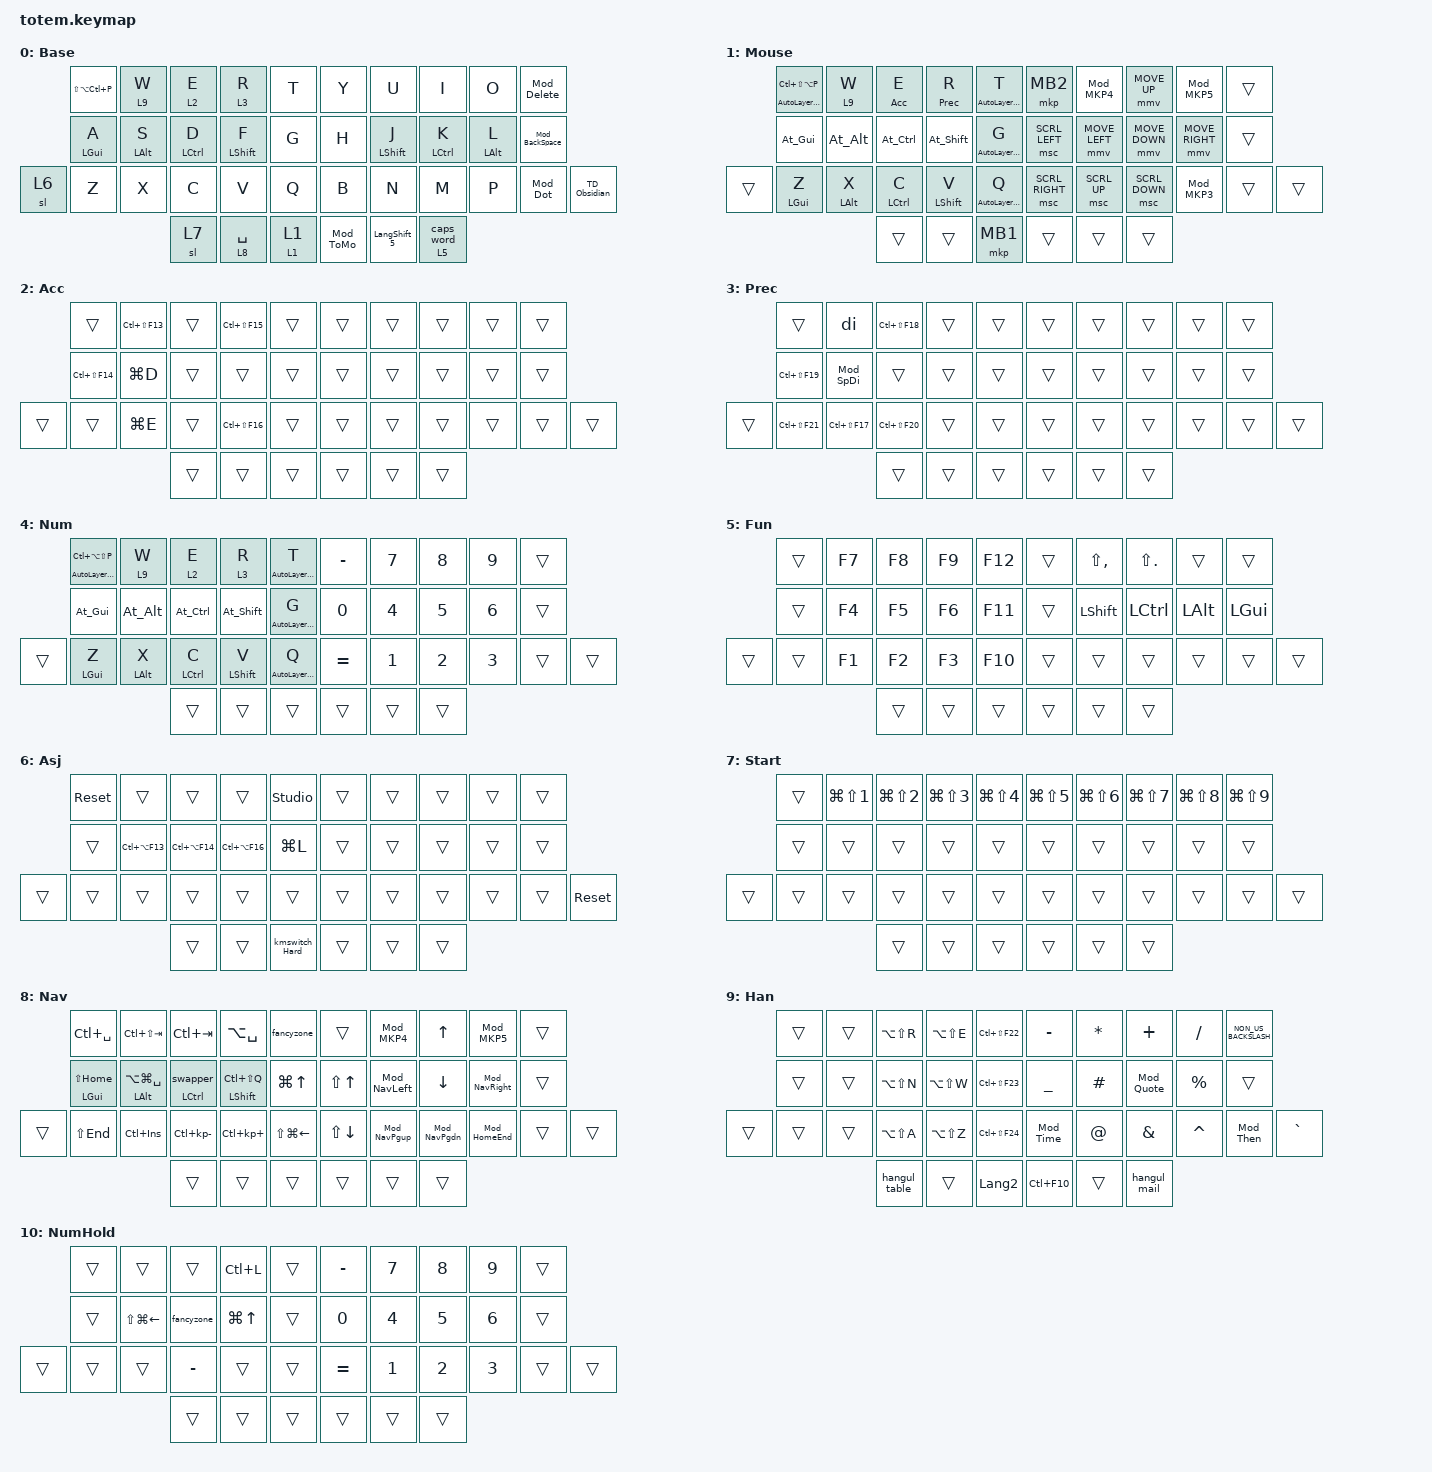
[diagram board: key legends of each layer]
//
//                                                        ▀▀▀▀▀     ▀▀▀▀▀          ▀▀█▀▀
//                                                        ▄▀▀▀▄  ▄  ▄▀▀▀▄  ▄  ▄▀▀▀▄  █  ▄▀▀▀▄
//                                                        █   █  █  █   █  █  █   █  █  █   █
//                                                         ▀▀▀   █   ▀▀▀   █   ▀▀▀   ▀   ▀▀▀
//                                                               █      ▄▄▄█▄▄▄    █   █  
//                                                               ▀      █  █  █     █▄█
//                                                             ▀▀▀▀▀    █  █  █      ▀
//                                                                      ▀  ▀  ▀
//
// ▄▄▄▄▄▄▄▄▄▄▄▄▄▄▄▄▄▄▄▄▄▄▄▄▄▄▄▄▄▄▄▄▄▄▄▄▄▄▄▄▄▄▄▄▄▄▄▄▄▄▄▄▄▄▄▄▄▄▄▄▄▄▄▄▄▄▄▄▄▄▄▄▄▄▄▄▄▄▄▄▄▄▄▄▄▄▄▄▄▄▄▄▄▄▄▄▄▄▄▄▄▄▄▄▄▄▄▄▄▄▄▄▄▄▄▄▄▄▄▄▄▄▄▄▄▄▄▄▄▄▄▄▄▄▄▄▄▄▄▄▄▄▄▄▄▄▄▄▄

#include "mouse-tuning.h"
#include <input/processors.dtsi>
#include <behaviors.dtsi>
#include <dt-bindings/zmk/keys.h>
#include <dt-bindings/zmk/pointing.h>

#define Base        0
#define Mouse       1
#define Acc         2
#define Prec        3
#define Num         4
#define Fun         5
#define Asj         6
#define Start       7
#define Nav         8
#define Han         9

&mt {
    quick-tap-ms = <100>;
    global-quick-tap;
    flavor = "tap-preferred";
    tapping-term-ms = <170>;
};

&lt {
    tapping-term-ms = <240>;
    flavor = "balanced";
    quick-tap-ms = <150>;
};

#include "mouse-tuning.dtsi"

/ {
    behaviors {
        hm: homerow_mods {
            compatible = "zmk,behavior-hold-tap";
            label = "HOMEROW_MODS";
            #binding-cells = <2>;
            flavor = "tap-preferred";
            tapping-term-ms = <200>;
            quick-tap-ms = <125>;
            global-quick-tap;
            bindings = <&sk>, <&kp>;
        };

        swapper: swapper {
            compatible = "totem,behavior-owned-swapper";
            label = "SWAPPER";
            #binding-cells = <0>;

            ignored-key-positions = <2 3 7 16 17 18>;  // 키 위치를 숫자로 변환 필요
        };

        LangShift_1: LangShift_1 {
            compatible = "zmk,behavior-sticky-key";
            label = "LANGSHIFT_1";
            bindings = <&sk>;
            #binding-cells = <1>;
            release-after-ms = <1000>;
            quick-release;
            ignore-modifiers;
        };

        LangShift_2: LangShift_2 {
            compatible = "zmk,behavior-hold-tap";
            label = "LANGSHIFT_2";
            bindings = <&lang_temp>, <&LangShift_1>;

            #binding-cells = <2>;
            tapping-term-ms = <180>;
            flavor = "tap-preferred";
        };

        LangShift_3: LangShift_3 {
            compatible = "zmk,behavior-hold-tap";
            label = "LANGSHIFT_3";
            bindings = <&kp>, <&lang>;

            #binding-cells = <2>;
            tapping-term-ms = <180>;
            flavor = "tap-preferred";
        };

        LangShift_4: LangShift_4 {
            compatible = "zmk,behavior-mod-morph";
            label = "LANGSHIFT_4";
            bindings =
                <&LangShift_2 RIGHT_SHIFT RIGHT_SHIFT>,
                <&LangShift_3 RIGHT_SHIFT 0>;

            #binding-cells = <0>;
            mods = <(MOD_RSFT)>;
        };

        Layter_ToMo: Layter_ToMo {
            compatible = "zmk,behavior-hold-tap";
            label = "LAYTER_TOMO";
            bindings = <&mo>, <&to>;

            #binding-cells = <2>;
            tapping-term-ms = <180>;
            flavor = "tap-preferred";
        };

        AutoLayer_3: AutoLayer_3 {
            compatible = "zmk,behavior-hold-tap";
            label = "AUTOLAYER_3";
            bindings = <&kp>, <&AutoLayer_1>;

            #binding-cells = <2>;
            flavor = "tap-preferred";
            tapping-term-ms = <180>;
        };

        AutoLayer_4: AutoLayer_4 {
            compatible = "zmk,behavior-hold-tap";
            label = "AUTOLAYER_4";
            bindings = <&mo>, <&AutoLayer_1>;

            #binding-cells = <2>;
            tapping-term-ms = <180>;
            flavor = "tap-preferred";
        };

        HT_MoCaps: HT_MoCaps {
            compatible = "zmk,behavior-hold-tap";
            label = "HT_MOCAPS";
            bindings = <&mo>, <&caps_word>;

            #binding-cells = <2>;
            tapping-term-ms = <180>;
            flavor = "balanced";
        };

        TD_Obsidian: TD_Obsidian {
            compatible = "zmk,behavior-tap-dance";
            label = "TD_OBSIDIAN";
            #binding-cells = <0>;
            bindings = <&kp LC(LS(LA(LG(M))))>, <&kp LS(LA(LC(LG(H))))>;
        };

        Sign_layer: Sign_layer {
            compatible = "zmk,behavior-hold-tap";
            label = "SIGN_LAYER";
            bindings = <&mo>, <&kp>;

            #binding-cells = <2>;
            tapping-term-ms = <200>;
            flavor = "tap-preferred";
        };

        Mod_Bracket: Mod_Bracket {
            compatible = "zmk,behavior-mod-morph";
            label = "MOD_BRACKET";
            bindings = <&bracket>, <&bracket2>;

            #binding-cells = <0>;
            mods = <(MOD_RSFT)>;
        };

        Mod_Colon: Mod_Colon {
            compatible = "zmk,behavior-mod-morph";
            label = "MOD_COLON";
            bindings = <&kp COLON>, <&kp SEMI>;

            #binding-cells = <0>;
            mods = <(MOD_RSFT|MOD_LSFT)>;
        };

        Mod_BackSpace: Mod_BackSpace {
            compatible = "zmk,behavior-mod-morph";
            label = "MOD_BACKSPACE";
            bindings = <&kp BACKSPACE>, <&kp BACKSPACE>;

            #binding-cells = <0>;
            mods = <(MOD_RSFT)>;
        };

        Mod_Delete: Mod_Delete {
            compatible = "zmk,behavior-mod-morph";
            label = "MOD_DELETE";
            bindings = <&kp DELETE>, <&kp DELETE>;

            #binding-cells = <0>;
            mods = <(MOD_RSFT)>;
        };

        Mod_Dot: Mod_Dot {
            compatible = "zmk,behavior-mod-morph";
            label = "MOD_DOT";
            bindings = <&kp PERIOD>, <&kp EXCLAMATION>;

            #binding-cells = <0>;
            mods = <(MOD_RSFT|MOD_LSFT)>;
        };

        Mod_Comma: Mod_Comma {
            compatible = "zmk,behavior-mod-morph";
            label = "MOD_COMMA";
            bindings = <&kp COMMA>, <&kp QUESTION>;

            #binding-cells = <0>;
            mods = <(MOD_RSFT|MOD_LSFT)>;
        };

        Mod_HomeEnd: Mod_HomeEnd {
            compatible = "zmk,behavior-mod-morph";
            label = "MOD_HOMEEND";
            bindings = <&kp LC(HOME)>, <&kp LC(END)>;

            #binding-cells = <0>;
            mods = <(MOD_RSFT|MOD_LSFT)>;
        };

        Mod_Arrow: Mod_Arrow {
            compatible = "zmk,behavior-mod-morph";
            label = "MOD_ARROW";
            bindings = <&Arrow_Right>, <&Arrow_Left>;

            #binding-cells = <0>;
            mods = <(MOD_RSFT|MOD_LSFT)>;
        };

        Mod_MKP3: Mod_MKP3 {
            compatible = "zmk,behavior-mod-morph";
            label = "MOD_MKP3";
            bindings = <&mkp MB3>, <&mkp MB2>;

            #binding-cells = <0>;
            mods = <(MOD_RSFT)>;
        };

        Mod_MKP4: Mod_MKP4 {
            compatible = "zmk,behavior-mod-morph";
            label = "MOD_MKP4";
            bindings = <&mkp MB4>, <&kp LA(UP_ARROW)>;

            #binding-cells = <0>;
            mods = <(MOD_RSFT)>;
        };

        Mod_MKP5: Mod_MKP5 {
            compatible = "zmk,behavior-mod-morph";
            label = "MOD_MKP5";
            bindings = <&mkp MB5>, <&kp LA(LC(LG(LS(F))))>;

            #binding-cells = <0>;
            mods = <(MOD_RSFT)>;
        };

        Mod_NavLeft: Mod_NavLeft {
            compatible = "zmk,behavior-mod-morph";
            label = "MOD_NAVLEFT";
            bindings = <&kp LEFT>, <&kp HOME>;

            #binding-cells = <0>;
            mods = <(MOD_RSFT)>;
        };

        Mod_NavRight: Mod_NavRight {
            compatible = "zmk,behavior-mod-morph";
            label = "MOD_NAVRIGHT";
            bindings = <&kp RIGHT>, <&kp END>;

            #binding-cells = <0>;
            mods = <(MOD_RSFT)>;
        };

        Mod_NavPgup: Mod_NavPgup {
            compatible = "zmk,behavior-mod-morph";
            label = "MOD_NAVPGUP";
            bindings = <&kp PG_UP>, <&kp LC(HOME)>;

            #binding-cells = <0>;
            mods = <(MOD_RSFT)>;
        };

        Mod_NavPgdn: Mod_NavPgdn {
            compatible = "zmk,behavior-mod-morph";
            label = "MOD_NAVPGDN";
            bindings = <&kp PG_DN>, <&kp LC(END)>;

            #binding-cells = <0>;
            mods = <(MOD_RSFT)>;
        };

        Mod_SpDi: Mod_SpDi {
            compatible = "zmk,behavior-mod-morph";
            label = "MOD_SPDI";
            bindings = <&ps>, <&di>;

            #binding-cells = <0>;
            mods = <(MOD_RSFT)>;
        };

        Mod_tide: Mod_tide {
            compatible = "zmk,behavior-mod-morph";
            label = "MOD_TIDE";
            bindings = <&kp MINUS>, <&kp TILDE>;

            #binding-cells = <0>;
            mods = <(MOD_RSFT|MOD_LSFT)>;
        };

        Mod_PrintScreen: Mod_PrintScreen {
            compatible = "zmk,behavior-mod-morph";
            label = "MOD_PRINTSCREEN";
            bindings = <&kp PRINTSCREEN>, <&kp LC(LS(LG(T)))>;

            #binding-cells = <0>;
            mods = <(MOD_RSFT)>;
        };

        Mod_Time: Mod_Time {
            compatible = "zmk,behavior-mod-morph";
            label = "MOD_TIME";
            bindings = <&kp TILDE>, <&kp COLON>;

            #binding-cells = <0>;
            mods = <(MOD_RSFT|MOD_LSFT)>;
        };

        AutoLayer_6: AutoLayer_6 {
            compatible = "zmk,behavior-hold-tap";
            label = "AUTOLAYER_6";
            bindings = <&AutoLayer_5>, <&AutoLayer_1>;

            #binding-cells = <2>;
            flavor = "tap-preferred";
            tapping-term-ms = <180>;
        };

        At_Shift: At_Shift {
            compatible = "zmk,behavior-mod-morph";
            label = "AT_SHIFT";
            bindings = <&AutoLayer_6 LEFT_SHIFT F>, <&AutoLayer_3 LEFT_SHIFT F>;

            #binding-cells = <0>;
            mods = <(MOD_RSFT|MOD_LSFT|MOD_LCTL|MOD_LALT|MOD_LGUI)>;
            keep-mods = <(MOD_LCTL|MOD_LSFT|MOD_LALT|MOD_LGUI)>;
        };

        At_Ctrl: At_Ctrl {
            compatible = "zmk,behavior-mod-morph";
            label = "AT_CTRL";
            bindings = <&AutoLayer_6 LCTRL D>, <&AutoLayer_3 LCTRL D>;

            #binding-cells = <0>;
            mods = <(MOD_RSFT|MOD_LSFT|MOD_LCTL|MOD_LALT|MOD_LGUI)>;
            keep-mods = <(MOD_LCTL|MOD_LSFT|MOD_LALT|MOD_LGUI)>;
        };

        At_Alt: At_Alt {
            compatible = "zmk,behavior-mod-morph";
            label = "AT_ALT";
            bindings = <&AutoLayer_6 LEFT_ALT S>, <&AutoLayer_3 LEFT_ALT S>;

            #binding-cells = <0>;
            mods = <(MOD_RSFT|MOD_LSFT|MOD_LCTL|MOD_LALT|MOD_LGUI)>;
            keep-mods = <(MOD_LCTL|MOD_LSFT|MOD_LALT|MOD_LGUI)>;
        };

        At_Gui: At_Gui {
            compatible = "zmk,behavior-mod-morph";
            label = "AT_GUI";
            bindings = <&AutoLayer_6 LEFT_GUI A>, <&AutoLayer_3 LEFT_GUI A>;

            #binding-cells = <0>;
            mods = <(MOD_RSFT|MOD_LSFT|MOD_LCTL|MOD_LALT|MOD_LGUI)>;
            keep-mods = <(MOD_LCTL|MOD_LSFT|MOD_LALT|MOD_LGUI)>;
        };

        LangShift_5: LangShift_5 {
            compatible = "zmk,behavior-mod-morph";
            label = "LANGSHIFT_5";
            bindings = <&LangShift_4>, <&kp ENTER>;

            #binding-cells = <0>;
            mods = <(MOD_LCTL|MOD_LSFT|MOD_LGUI|MOD_LALT)>;
            keep-mods = <(MOD_LCTL|MOD_LSFT|MOD_LALT|MOD_LGUI)>;
        };

        Mod_ToMo: Mod_ToMo {
            compatible = "zmk,behavior-mod-morph";
            label = "MOD_TOMO";
            bindings = <&Layter_ToMo 10 4>, <&kp TAB>;

            #binding-cells = <0>;
            mods = <(MOD_LCTL|MOD_LSFT|MOD_LALT|MOD_LGUI)>;
            keep-mods = <(MOD_LCTL|MOD_LSFT|MOD_LALT|MOD_LGUI)>;
        };

        hm_swapper: hm_swapper {
            compatible = "zmk,behavior-hold-tap";
            label = "HM_SWAPPER";
            #binding-cells = <2>;
            flavor = "tap-preferred";
            tapping-term-ms = <200>;
            quick-tap-ms = <125>;
            global-quick-tap;
            bindings = <&kp>, <&swapper>;
        };

        Mod_Kmswitch: Mod_Kmswitch {
            compatible = "zmk,behavior-mod-morph";
            label = "MOD_KMSWITCH";
            bindings = <&kmswitch_Hard>, <&kp F24>;

            #binding-cells = <0>;
            mods = <(MOD_RSFT)>;
        };

        AutoLayer_Fast: AutoLayer_Fast {
            compatible = "zmk,behavior-hold-tap";
            label = "AUTOLAYER_FAST";
            bindings = <&mo>, <&AutoLayer_1>;

            #binding-cells = <2>;
            tapping-term-ms = <TOTEM_MOUSE_TAPPING_TERM_MS>;
            flavor = "tap-preferred";
            hold-while-undecided;
        };

        AutoLayer_Slow: AutoLayer_Slow {
            compatible = "zmk,behavior-hold-tap";
            label = "AUTOLAYER_SLOW";
            bindings = <&mo>, <&AutoLayer_1>;

            #binding-cells = <2>;
            tapping-term-ms = <TOTEM_MOUSE_TAPPING_TERM_MS>;
            flavor = "tap-preferred";
            hold-while-undecided;
        };

        Nav_Ctrl: Nav_Ctrl {
            compatible = "zmk,behavior-hold-tap";
            label = "NAV_CTRL";
            bindings = <&kp>, <&swapper>;

            #binding-cells = <2>;
            tapping-term-ms = <200>;
            quick-tap-ms = <125>;
            flavor = "tap-preferred";
            hold-trigger-key-positions = <7 16 17 18>;
        };

        Nav_Mods: Nav_Mods {
            compatible = "zmk,behavior-hold-tap";
            label = "NAV_MODS";
            bindings = <&kp>, <&kp>;

            #binding-cells = <2>;
            tapping-term-ms = <200>;
            quick-tap-ms = <125>;
            flavor = "tap-preferred";
            hold-trigger-key-positions = <7 16 17 18>;
        };

        Mod_Copy: Mod_Copy {
            compatible = "zmk,behavior-mod-morph";
            label = "MOD_COPY";
            bindings = <&kp LC(V)>, <&kp LC(F21)>;

            #binding-cells = <0>;
            mods = <(MOD_RSFT)>;
        };

        Mod_Quote: Mod_Quote {
            compatible = "zmk,behavior-mod-morph";
            label = "MOD_QUOTE";
            bindings = <&kp SQT>, <&kp DOUBLE_QUOTES>;

            #binding-cells = <0>;
            mods = <(MOD_RSFT)>;
        };

        Mod_Then: Mod_Then {
            compatible = "zmk,behavior-mod-morph";
            label = "MOD_THEN";
            bindings = <&kp GREATER_THAN>, <&kp LESS_THAN>;

            #binding-cells = <0>;
            mods = <(MOD_RSFT)>;
        };
    };

    combos {
        compatible = "zmk,combos";

        CBL_Cut {
            bindings = <&kp LC(X)>;
            key-positions = <22 24>;
        };

        CBL_Copy {
            bindings = <&kp LC(C)>;
            key-positions = <22 23>;
        };

        CBL_Paste {
            bindings = <&Mod_Copy>;
            key-positions = <23 24>;
        };

        CBL_AltF4 {
            bindings = <&kp LA(F4)>;
            key-positions = <34 10>;
        };

        CBL_Esc {
            bindings = <&kp ESCAPE>;
            key-positions = <1 2>;
        };

        CBR_Bracket {
            bindings = <&Mod_Bracket>;
            key-positions = <27 29>;
        };

        CBL_Undo {
            bindings = <&kp LC(Z)>;
            key-positions = <22 12>;
        };

        CBL_Reset {
            bindings = <&sys_reset>;
            key-positions = <13 11 2>;
            layers = <6>;
        };

        CBR_Arrow {
            bindings = <&Mod_Arrow>;
            key-positions = <30 27>;
        };

        CBR_Colon {
            bindings = <&Mod_Colon>;
            key-positions = <28 29>;
        };

        CBL_KmSwitch {
            bindings = <&Mod_Kmswitch>;
            key-positions = <11 13>;
        };

        CBL_SelectAll {
            bindings = <&kp LC(A)>;
            key-positions = <22 23 24>;
        };

        CBL_Enter {
            bindings = <&kp ENTER>;
            key-positions = <12 13>;
        };

        CBL_Tab {
            bindings = <&kp TAB>;
            key-positions = <12 11>;
        };

        layer0 {
            bindings = <&to 0>;
            key-positions = <6 7>;
        };

        CBR_Comma {
            bindings = <&Mod_Comma>;
            key-positions = <27 28>;
        };

        CBR_PrintScreen {
            bindings = <&Mod_PrintScreen>;
            key-positions = <16 7 18>;
        };

        CBL_Repeat {
            bindings = <&key_repeat>;
            key-positions = <24 12>;
        };

        F1_Combo {
            bindings = <&kp F1>;
            key-positions = <34 22>;
        };

        F2_Combo {
            bindings = <&kp F2>;
            key-positions = <34 23>;
        };

        F3_Combo {
            bindings = <&kp F3>;
            key-positions = <34 24>;
        };

        F4_Combo {
            bindings = <&kp F4>;
            key-positions = <34 11>;
        };

        F5_Combo {
            bindings = <&kp F5>;
            key-positions = <34 12>;
        };

        F6_Combo {
            bindings = <&kp F6>;
            key-positions = <34 13>;
        };

        F7_Combo {
            bindings = <&kp F7>;
            key-positions = <34 1>;
        };

        F8_Combo {
            bindings = <&kp F8>;
            key-positions = <34 2>;
        };

        F9_Combo {
            bindings = <&kp F9>;
            key-positions = <34 3>;
        };

        F10_Combo {
            bindings = <&kp F10>;
            key-positions = <34 25>;
        };

        F11_Combo {
            bindings = <&kp F11>;
            key-positions = <34 14>;
        };

        F12_Combo {
            bindings = <&kp F12>;
            key-positions = <34 4>;
        };

        CBL_Clipboard {
            bindings = <&kp LG(V)>;
            key-positions = <22 21>;
        };

        CBR_Esclayer {
            bindings = <&esccombo>;
            key-positions = <6 7 8>;
        };

        Lang_Combo {
            bindings = <&lang>;
            key-positions = <17 36>;
        };

        Nav_CtrlShift {
            bindings = <&Nav_CtrlShift>;
            key-positions = <11 12 13>;
            layers = <8>;
        };

        CtrlShift_Combo {
            bindings = <&CtrlShift>;
            key-positions = <11 12 13>;
            layers = <0 1 2 3 4 5 6 7 9 10>;
        };
    };

    macros {
        ps: ps {
            compatible = "zmk,behavior-macro";
            #binding-cells = <0>;
            bindings =
                <&macro_tap>,
                <&kp EXCL &kp T &kp J &kp D &kp W &kp N &kp S &kp N9 &kp N0 &kp N0 &kp N5>;

            label = "ps";
        };

        kmswitch_Hard: kmswitch {
            compatible = "zmk,behavior-macro";
            #binding-cells = <0>;
            bindings = <&kp SCROLLLOCK &kp SCROLLLOCK>;
            label = "kmswitch";
            wait-ms = <45>;
            tap-ms = <45>;
        };

        fancyzone: lang_toggle {
            compatible = "zmk,behavior-macro";
            #binding-cells = <0>;
            bindings =
                <&macro_press>,
                <&kp LEFT_GUI>,
                <&macro_wait_time 20>,
                <&macro_tap>,
                <&kp LEFT_ARROW>,
                <&macro_wait_time 20>,
                <&macro_release>,
                <&kp LEFT_GUI>;

            label = "LANG_TOGGLE";
        };

        lang_temp: lang_temp {
            compatible = "zmk,behavior-macro";
            #binding-cells = <0>;
            bindings =
                <&macro_tap>,
                <&to 0 &kp LANGUAGE_1>,
                <&macro_pause_for_release>,
                <&macro_tap>,
                <&kp LANGUAGE_1>;

            label = "LANG_TEMP";
            wait-ms = <0>;
            tap-ms = <0>;
        };

        bracket: bracket {
            compatible = "zmk,behavior-macro";
            #binding-cells = <0>;
            bindings =
                <&macro_tap>,
                <&kp LEFT_PARENTHESIS &kp RIGHT_PARENTHESIS &kp LEFT_ARROW>;

            label = "BRACKET";
        };

        bracket2: bracket2 {
            compatible = "zmk,behavior-macro";
            #binding-cells = <0>;
            bindings =
                <&macro_tap>,
                <&kp LEFT_BRACKET &kp RIGHT_BRACKET &kp LEFT>;

            label = "BRACKET2";
        };

        AutoLayer_1: atlayertab {
            compatible = "totem,behavior-auto-base";
            #binding-cells = <1>;
            label = "atlayertab";
        };

        esccombo: esccombo {
            compatible = "zmk,behavior-macro";
            #binding-cells = <0>;
            bindings = <&macro_tap>, <&to 0 &kp ESCAPE>;

            label = "ESCCOMBO";
        };

        mousefind: mousefind {
            compatible = "zmk,behavior-macro";
            #binding-cells = <0>;
            bindings =
                <&macro_tap>,
                <&kp RIGHT_CONTROL>,
                <&macro_wait_time 10>,
                <&kp RIGHT_CONTROL>;

            label = "MOUSEFIND";
        };

        lang: lang {
            compatible = "zmk,behavior-macro";
            #binding-cells = <0>;
            bindings = <&macro_tap>, <&to 0 &kp LANGUAGE_1>;

            label = "LANG";
            wait-ms = <0>;
            tap-ms = <0>;
        };

        di: di {
            compatible = "zmk,behavior-macro";
            #binding-cells = <0>;
            bindings =
                <&macro_tap>,
                <&kp A &kp S &kp J &kp N9 &kp N0 &kp N0 &kp N5>;

            label = "DI";
        };

        Arrow_Left: Arrow_Left {
            compatible = "zmk,behavior-macro";
            #binding-cells = <0>;
            bindings = <&macro_tap>, <&kp LT &kp MINUS>;

            label = "ARROW_LEFT";
        };

        Arrow_Right: Arrow_Right {
            compatible = "zmk,behavior-macro";
            #binding-cells = <0>;
            bindings = <&macro_tap>, <&kp MINUS &kp GT>;

            label = "ARROW_RIGHT";
        };

        hangul_table: hangul_table {
            compatible = "zmk,behavior-macro";
            #binding-cells = <0>;
            bindings =
                <&macro_press>,
                <&kp LCTRL>,
                <&macro_tap>,
                <&kp N &kp T>,
                <&macro_release>,
                <&kp LCTRL>;

            label = "HANGUL_TABLE";
            wait-ms = <0>;
            tap-ms = <0>;
        };

        hangul_mail: hangul_mail {
            compatible = "zmk,behavior-macro";
            #binding-cells = <0>;
            bindings =
                <&macro_press>,
                <&kp LCTRL>,
                <&macro_tap>,
                <&kp K &kp M>,
                <&macro_release>,
                <&kp LCTRL>;

            label = "HANGUL_MAIL";
            wait-ms = <0>;
            tap-ms = <0>;
        };

        AutoLayer_5: AutoLayer_5 {
            compatible = "zmk,behavior-macro-one-param";
            #binding-cells = <1>;
            bindings =
                <&macro_tap>,
                <&to 0>,
                <&macro_press>,
                <&macro_param_1to1 &kp MACRO_PLACEHOLDER>,
                <&macro_pause_for_release>,
                <&macro_release>,
                <&macro_param_1to1 &kp MACRO_PLACEHOLDER>;

            label = "AUTOLAYER_5";
            wait-ms = <0>;
            tap-ms = <0>;
        };

        Nav_CtrlShift: Nav_CtrlShift {
            compatible = "zmk,behavior-macro";
            #binding-cells = <0>;
            bindings =
                <&macro_press>,
                <&sk LCTRL &sk LEFT_SHIFT>,
                <&macro_pause_for_release>,
                <&macro_release>,
                <&sk LCTRL &sk LEFT_SHIFT>;

            label = "NAV_CTRLSHIFT";
            wait-ms = <0>;
        };

        CtrlShift: CtrlShift {
            compatible = "zmk,behavior-macro";
            #binding-cells = <0>;
            bindings =
                <&macro_tap>,
                <&to 0>,
                <&macro_press>,
                <&sk LCTRL &sk LEFT_SHIFT>,
                <&macro_pause_for_release>,
                <&macro_release>,
                <&sk LCTRL &sk LEFT_SHIFT>;

            label = "CTRLSHIFT";
            wait-ms = <0>;
        };
    };

    keymap {
        compatible = "zmk,keymap";

        Base {
            display-name = "Base";
            bindings = <
       &kp LS(LA(LC(P)))  &Sign_layer 9 W  &Sign_layer 2 E  &Sign_layer 3 R   &kp T               &kp Y      &kp U             &kp I           &kp O           &Mod_Delete
       &hm LEFT_GUI A     &hm LEFT_ALT S   &hm LCTRL D      &hm LEFT_SHIFT F  &kp G               &kp H      &hm LEFT_SHIFT J  &hm LCTRL K     &hm LEFT_ALT L  &Mod_BackSpace
&sl 6  &kp Z              &kp X            &kp C            &kp V             &kp Q               &kp B      &kp N             &kp M           &kp P           &Mod_Dot        &TD_Obsidian
                                           &sl 7            &lt 8 SPACE       &Layter_ToMo 1 1    &Mod_ToMo  &LangShift_5      &HT_MoCaps 5 0
            >;
        };

        Mouse {
            display-name = "Mouse";
            bindings = <
        &AutoLayer_1 LC(LS(LA(P)))  &AutoLayer_4 9 W         &AutoLayer_Fast Acc E &AutoLayer_Slow Prec R     &AutoLayer_1 T    &mkp MB2         &Mod_MKP4       &mmv MOVE_UP    &Mod_MKP5        &trans
        &At_Gui                     &At_Alt                  &At_Ctrl              &At_Shift                  &AutoLayer_1 G    &msc SCRL_LEFT   &mmv MOVE_LEFT  &mmv MOVE_DOWN  &mmv MOVE_RIGHT  &trans
&trans  &AutoLayer_3 LEFT_GUI Z     &AutoLayer_3 LEFT_ALT X  &AutoLayer_3 LCTRL C  &AutoLayer_3 LEFT_SHIFT V  &AutoLayer_1 Q    &msc SCRL_RIGHT  &msc SCRL_UP    &msc SCRL_DOWN  &Mod_MKP3        &trans  &trans
                                                             &trans                &trans                     &mkp MB1          &trans           &trans          &trans
            >;
        };

        Acc {
            bindings = <
        &trans           &kp LC(LS(F13))  &trans  &kp LC(LS(F15))  &trans    &trans  &trans  &trans  &trans  &trans
        &kp LC(LS(F14))  &kp LG(D)        &trans  &trans           &trans    &trans  &trans  &trans  &trans  &trans
&trans  &trans           &kp LG(E)        &trans  &kp LC(LS(F16))  &trans    &trans  &trans  &trans  &trans  &trans  &trans
                                          &trans  &trans           &trans    &trans  &trans  &trans
            >;

            label = "Acc";
        };

        Prec {
            bindings = <
        &trans           &di              &kp LC(LS(F18))  &trans  &trans    &trans  &trans  &trans  &trans  &trans
        &kp LC(LS(F19))  &Mod_SpDi        &trans           &trans  &trans    &trans  &trans  &trans  &trans  &trans
&trans  &kp LC(LS(F21))  &kp LC(LS(F17))  &kp LC(LS(F20))  &trans  &trans    &trans  &trans  &trans  &trans  &trans  &trans
                                          &trans           &trans  &trans    &trans  &trans  &trans
            >;

            label = "Prec";
        };

        Num {
            bindings = <
        &AutoLayer_1 LC(LA(LS(P)))  &AutoLayer_4 9 W         &AutoLayer_4 2 E      &AutoLayer_4 3 R           &AutoLayer_1 T    &kp MINUS  &kp N7  &kp N8  &kp N9  &trans
        &At_Gui                     &At_Alt                  &At_Ctrl              &At_Shift                  &AutoLayer_1 G    &kp N0     &kp N4  &kp N5  &kp N6  &trans
&trans  &AutoLayer_3 LEFT_GUI Z     &AutoLayer_3 LEFT_ALT X  &AutoLayer_3 LCTRL C  &AutoLayer_3 LEFT_SHIFT V  &AutoLayer_1 Q    &kp EQUAL  &kp N1  &kp N2  &kp N3  &trans  &trans
                                                             &trans                &trans                     &trans            &trans     &trans  &trans
            >;

            label = "Num";
        };

        Fun {
            bindings = <
        &trans  &kp F7  &kp F8  &kp F9  &kp F12    &trans  &kp LS(COMMA)  &kp LS(PERIOD)  &trans    &trans
        &trans  &kp F4  &kp F5  &kp F6  &kp F11    &trans  &kp LSHFT      &kp LCTRL       &kp LALT  &kp LGUI
&trans  &trans  &kp F1  &kp F2  &kp F3  &kp F10    &trans  &trans         &trans          &trans    &trans    &trans
                        &trans  &trans  &trans     &trans  &trans         &trans
            >;

            label = "Fun";
        };

        Asj {
            bindings = <
        &sys_reset  &trans           &trans           &trans           &studio_unlock    &trans  &trans  &trans  &trans  &trans
        &trans      &kp LC(LA(F13))  &kp LC(LA(F14))  &kp LC(LA(F16))  &kp LG(L)         &trans  &trans  &trans  &trans  &trans
&trans  &trans      &trans           &trans           &trans           &trans            &trans  &trans  &trans  &trans  &trans  &sys_reset
                                     &trans           &trans           &kmswitch_Hard    &trans  &trans  &trans
            >;
        };

        Start {
            bindings = <
        &trans  &kp LG(LS(N1))  &kp LG(LS(N2))  &kp LG(LS(N3))  &kp LG(LS(N4))    &kp LG(LS(N5))  &kp LG(LS(N6))  &kp LG(LS(N7))  &kp LG(LS(N8))  &kp LG(LS(N9))
        &trans  &trans          &trans          &trans          &trans            &trans          &trans          &trans          &trans          &trans
&trans  &trans  &trans          &trans          &trans          &trans            &trans          &trans          &trans          &trans          &trans          &trans
                                &trans          &trans          &trans            &trans          &trans          &trans
            >;
        };

        Nav {
            bindings = <
        &kp LC(SPACE)                &kp LC(LS(TAB))                   &kp LC(TAB)        &kp LA(SPACE)                   &fancyzone                &trans            &Mod_MKP4     &kp UP        &Mod_MKP5      &trans
        &Nav_Mods LEFT_GUI LS(HOME)  &Nav_Mods LEFT_ALT LA(LG(SPACE))  &Nav_Ctrl LCTRL 0  &Nav_Mods LEFT_SHIFT LC(LS(Q))  &kp LG(UP_ARROW)          &kp LS(UP_ARROW)  &Mod_NavLeft  &kp DOWN      &Mod_NavRight  &trans
&trans  &kp LS(END)                  &kp LC(INS)                       &kp LC(KP_MINUS)   &kp LC(KP_PLUS)                 &kp LS(LG(LEFT_ARROW))    &kp LS(DOWN)      &Mod_NavPgup  &Mod_NavPgdn  &Mod_HomeEnd   &trans  &trans
                                                                       &trans             &trans                          &trans                    &trans            &trans        &trans
            >;

            label = "Nav";
        };

        Han {
            bindings = <
        &trans  &trans  &kp LA(LS(R))  &kp LA(LS(E))  &kp LC(LS(F22))    &kp MINUS       &kp ASTERISK  &kp PLUS       &kp SLASH    &kp NON_US_BACKSLASH
        &trans  &trans  &kp LA(LS(N))  &kp LA(LS(W))  &kp LC(LS(F23))    &kp UNDERSCORE  &kp HASH      &Mod_Quote     &kp PERCENT  &trans
&trans  &trans  &trans  &kp LA(LS(A))  &kp LA(LS(Z))  &kp LC(LS(F24))    &Mod_Time       &kp AT_SIGN   &kp AMPERSAND  &kp CARET    &Mod_Then             &kp GRAVE
                        &hangul_table  &trans         &kp LANGUAGE_2     &kp LC(F10)     &trans        &hangul_mail
            >;

            label = "Han";
        };

        NumHold {
            label = "NumHold";
            bindings = <
        &trans  &trans            &trans      &kp LC(L)         &trans    &kp MINUS  &kp N7  &kp N8  &kp N9  &trans
        &trans  &kp LS(LG(LEFT))  &fancyzone  &kp LG(UP_ARROW)  &trans    &kp N0     &kp N4  &kp N5  &kp N6  &trans
&trans  &trans  &trans            &kp MINUS   &trans            &trans    &kp EQUAL  &kp N1  &kp N2  &kp N3  &trans  &trans
                                  &trans      &trans            &trans    &trans     &trans  &trans
            >;
        };
    };
};
